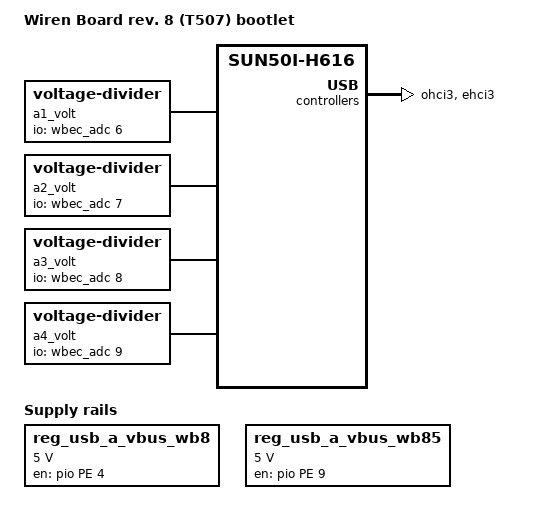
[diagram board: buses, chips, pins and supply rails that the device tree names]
/dts-v1/;
#include "sun50i-h616-wirenboard84x.dtsi"

// This file is used only for updating via FIT

/ {
	model = "Wiren Board rev. 8 (T507) bootlet";
	compatible = "wirenboard,wirenboard-8xx", "allwinner,sun50i-h616";

	a1_volt: a1-volt {
		compatible = "voltage-divider";
		io-channels = <&wbec_adc 6>;
		#io-channel-cells = <1>;

		output-ohms = <10000>;
		full-ohms = <110000>;
		status = "okay";
	};

	a2_volt: a2-volt {
		compatible = "voltage-divider";
		io-channels = <&wbec_adc 7>;
		#io-channel-cells = <1>;

		output-ohms = <10000>;
		full-ohms = <110000>;
	};

	a3_volt: a3-volt {
		compatible = "voltage-divider";
		io-channels = <&wbec_adc 8>;
		#io-channel-cells = <1>;

		output-ohms = <10000>;
		full-ohms = <110000>;
	};

	a4_volt: a4-volt {
		compatible = "voltage-divider";
		io-channels = <&wbec_adc 9>;
		#io-channel-cells = <1>;

		output-ohms = <10000>;
		full-ohms = <110000>;
	};
};

&regulators {
	reg_usb_a_vbus_wb8: regulator@21 {
		compatible = "regulator-fixed";
		gpio = <&pio PE 4 GPIO_ACTIVE_HIGH>;  // WB85: GSM POWER
		regulator-name = "usb-vbus";
		regulator-min-microvolt = <5000000>;
		regulator-max-microvolt = <5000000>;
		enable-active-high;
	};
	reg_usb_a_vbus_wb85: regulator@22 {
		compatible = "regulator-fixed";
		gpio = <&pio PE 9 GPIO_ACTIVE_HIGH>;  // WB8: 5V ON
		regulator-name = "usb-vbus";
		regulator-min-microvolt = <5000000>;
		regulator-max-microvolt = <5000000>;
		enable-active-high;
	};
};

&ohci3 {
	status = "okay";
};

&ehci3 {
	status = "okay";
};

&usbphy {
	usb0_vbus-supply = <&reg_usb_a_vbus_wb8>;
	usb3_vbus-supply = <&reg_usb_a_vbus_wb85>;
};
